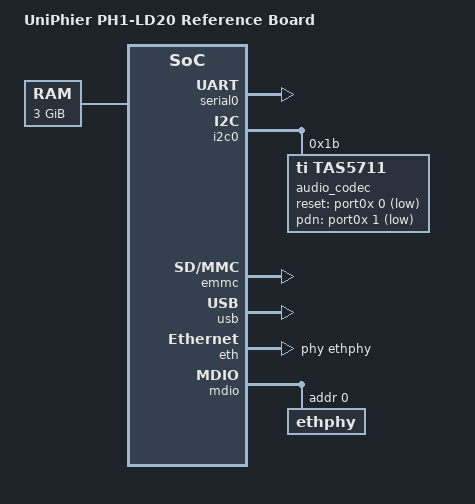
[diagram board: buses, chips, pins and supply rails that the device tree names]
// SPDX-License-Identifier: GPL-2.0+ OR MIT
//
// Device Tree Source for UniPhier PH1-LD20 Reference Board
//
// Copyright (C) 2015-2016 Socionext Inc.
//   Author: Masahiro Yamada <yamada.masahiro@socionext.com>

/dts-v1/;
#include "uniphier-ph1-ld20.dtsi"
#include "uniphier-ref-daughter.dtsi"
#include "uniphier-support-card.dtsi"
#include <dt-bindings/gpio/gpio.h>

/ {
	model = "UniPhier PH1-LD20 Reference Board";
	compatible = "socionext,ph1-ld20-ref", "socionext,ph1-ld20";

	chosen {
		stdout-path = "serial0:115200n8";
		bootargs = "earlycon";
	};

	aliases {
		serial0 = &serial0;
		serial1 = &serialsc;
		serial2 = &serial2;
		serial3 = &serial3;
		i2c0 = &i2c0;
		i2c1 = &i2c1;
		i2c2 = &i2c2;
		i2c3 = &i2c3;
		i2c4 = &i2c4;
		i2c5 = &i2c5;
		ethernet0 = &eth;
		ethernet1 = &ethsc;
	};

	memory {
		device_type = "memory";
		reg = <0 0x80000000 0 0xc0000000>;
	};
};

&ethsc {
	interrupts = <0 48 4>;
};

&serialsc {
	interrupts = <0 48 4>;
};

&serial0 {
	status = "okay";
};

&i2c0 {
	status = "okay";

	audio_codec: tas5707@1b {
		compatible = "ti,tas5711";
		reg = <0x1b>;
		mclk = <384>;
		reset-gpios = <&port0x 0 GPIO_ACTIVE_LOW>;
		pdn-gpios = <&port0x 1 GPIO_ACTIVE_LOW>;
		#sound-dai-cells = <0>;
	};
};

&sound_codec_sp {
	sound-dai = <&audio_codec>;
};

&emmc {
	status = "okay";
};

&usb {
	status = "okay";
};

&eth {
	status = "okay";
	phy-handle = <&ethphy>;
};

&mdio {
	ethphy: ethphy@0 {
		reg = <0>;
	};
};

&pinctrl_ether_rgmii {
	tx {
		pins = "RGMII_TXCLK", "RGMII_TXD0", "RGMII_TXD1",
		       "RGMII_TXD2",  "RGMII_TXD3", "RGMII_TXCTL";
		drive-strength = <9>;
	};
};
